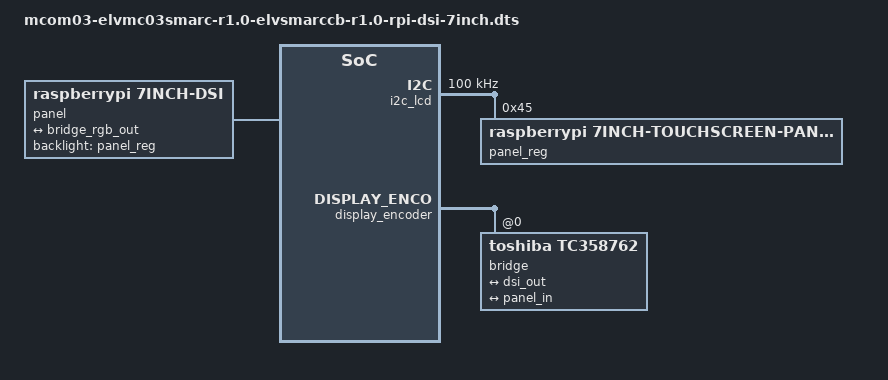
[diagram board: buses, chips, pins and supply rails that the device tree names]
// SPDX-License-Identifier: GPL-2.0+
/*
 * Copyright 2022 RnD Center "ELVEES", JSC
 */

/dts-v1/;

#include <dt-bindings/gpio/gpio.h>

#include "mcom03-elvmc03smarc-r1.0-elvsmarccb-r1.0.dts"

/ {
	panel {
		#address-cells = <1>;
		#size-cells = <0>;
		compatible = "raspberrypi,7inch-dsi";
		backlight = <&panel_reg>;

		ports {
			#address-cells = <1>;
			#size-cells = <0>;

			port {
				panel_in: endpoint {
					remote-endpoint = <&bridge_rgb_out>;
				};
			};
		};
	};

	/delete-node/ hdmi-sound;
};

&i2c_lcd {
	clock-frequency = <100000>;
	status = "okay";

	panel_reg: regulator@45 {
		compatible = "raspberrypi,7inch-touchscreen-panel-regulator";
		reg = <0x45>;
		gpio-controller;
		#gpio-cells = <2>;
	};
};

&i2c1 {
	/delete-node/ hdmi@39;
};

&display_encoder {
	video-output = "dsi";
	status = "okay";

	bridge@0 {
		#address-cells = <1>;
		#size-cells = <0>;
		compatible = "toshiba,tc358762";
		reg = <0>;

		ports {
			#address-cells = <1>;
			#size-cells = <0>;

			port@0 {
				reg = <0>;

				bridge_in: endpoint {
					remote-endpoint = <&dsi_out>;
				};
			};

			port@1 {
				reg = <1>;

				bridge_rgb_out: endpoint {
					remote-endpoint = <&panel_in>;
				};
			};
		};
	};

	ports {
		/delete-node/ port@2;

		port@1 {
			reg = <1>;

			dsi_out: endpoint {
				remote-endpoint = <&bridge_in>;
			};
		};
	};
};
